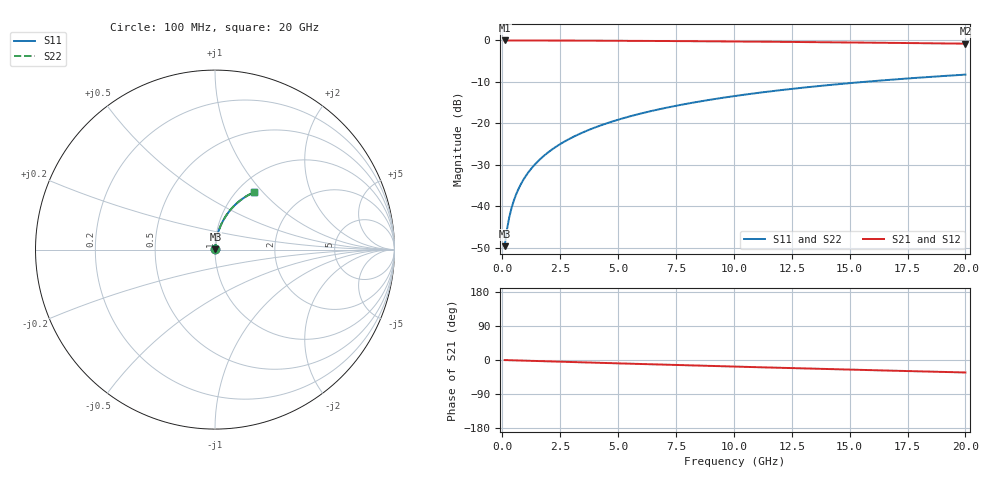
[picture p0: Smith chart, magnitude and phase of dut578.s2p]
! Touchstone file exported from HFSS 2026.1.0
!  File:  C:/ffzhzh/LocalFiles/Ansys_Project_Files/temp_train_BSMRDL_578_1783015656_55676.aedt
!  Generated:  02:08:55 AM Jul  3, 2026
!  Design:  BSMRDL
!  Project:  temp_train_BSMRDL_578_1783015656_55676
! Variables:
!  h_bsmrdl = 5.02um
!  h_ox = 20um
!  h_rdl = 5um
!  h_sub = 80um
!  h_tmrdl = 5um
!  h_tsv = 80um
!  h_via = 3um
!  l_bsmrdl = 404.17um
!  l_sub = 804.17um
!  l_tmrdl = 200um
!  m_sub = 200um
!  pitch = 51.59um
!  r_tsv = 6um
!  s_tmrdl = 10um
!  w_bsmrdl = 12.48um
!  w_sub = 500um
!  w_tmrdl = 12um
!  x_tsv_center1 = 206um
!  x_tsv_center2 = 622.65um
!  x_tsv_center3 = 834.65um
!  x_tsv_center4 = 1251.3um
!  x_tsv_center5 = 1463.3um
!  x_tsv_center6 = 1879.95um
# GHz S MA R 50.000000
! Terminal data exported
! Port[1] = BSM_RDL1_1_T1
! Port[2] = BSM_RDL1_1_T2
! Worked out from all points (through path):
!   200 points, 100 MHz to 20 GHz, reference 50 ohm
!   highest |S21| = -0.02 dB at 100 MHz (marker M1); lowest = -0.8 dB at 20 GHz (marker M2)
!   group delay of S21, straight-line fit = 4.57 ps
!   lowest |S11| = -49.6 dB at 100 MHz (marker M3), VSWR 1.01, Z = 50.2 + j0.234 ohm
!   |S11| at or under -10 dB: start of sweep to 15.62 GHz
!   |S22| runs from -49.6 to -8.3 dB; largest |S21 - S12| = 2e-15
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0.1  0.00332 44.5  0.9976 -0.2  0.9976 -0.2  0.00332 44.5
! Gamma 0 0 0 0
! Port Impedance 50 0 50 0
0.2  0.00524 62.4  0.9976 -0.4  0.9976 -0.4  0.00524 62.4
0.3  0.007382 70.1  0.9975 -0.5  0.9975 -0.5  0.007382 70.1
0.4  0.009582 74.1  0.9974 -0.7  0.9974 -0.7  0.009582 74.1
0.5  0.0118 76.5  0.9974 -0.9  0.9974 -0.9  0.0118 76.5
0.7  0.01625 79.3  0.9972 -1.3  0.9972 -1.3  0.01625 79.3
0.8  0.01848 80.1  0.9972 -1.4  0.9972 -1.4  0.01848 80.1
1  0.02293 81.2  0.997 -1.8  0.997 -1.8  0.02293 81.2
1.2  0.02739 81.8  0.9968 -2.2  0.9968 -2.2  0.02739 81.8
1.4  0.03186 82.2  0.9966 -2.5  0.9966 -2.5  0.03186 82.2
1.7  0.03855 82.4  0.9963 -3.1  0.9963 -3.1  0.03855 82.4
2  0.04523 82.4  0.9959 -3.6  0.9959 -3.6  0.04523 82.4
2.7  0.06074 81.9  0.9947 -4.8  0.9947 -4.8  0.06074 81.9
3.5  0.07832 80.9  0.9931 -6.2  0.9931 -6.2  0.07832 80.9
4.2  0.09353 79.9  0.9913 -7.5  0.9913 -7.5  0.09353 79.9
5  0.1107 78.7  0.9891 -8.9  0.9891 -8.9  0.1107 78.7
6.8  0.1485 75.8  0.9832 -11.9  0.9832 -11.9  0.1485 75.8
8.3  0.1792 73.5  0.9774 -14.5  0.9774 -14.5  0.1792 73.5
10.1  0.2149 70.6  0.9695 -17.5  0.9695 -17.5  0.2149 70.6
13.4  0.277 65.5  0.9528 -22.8  0.9528 -22.8  0.277 65.5
16.7  0.3344 60.5  0.9336 -28.0  0.9336 -28.0  0.3344 60.5
20  0.3868 55.7  0.9129 -32.9  0.9129 -32.9  0.3868 55.7
